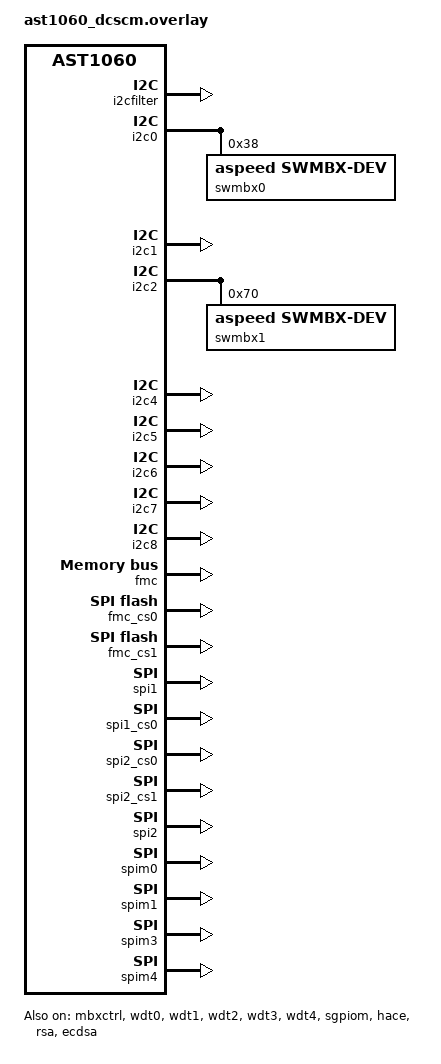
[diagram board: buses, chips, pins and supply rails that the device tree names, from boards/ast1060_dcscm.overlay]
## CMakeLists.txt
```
# Copyright (c) 2022 ASPEED Technology Inc.
# SPDX-License-Identifier: MIT

cmake_minimum_required(VERSION 3.13.1)

find_package(Zephyr REQUIRED HINTS $ENV{ZEPHYR_BASE})
project(preload-fw VERSION 03.08 LANGUAGES C)

set(PROJECT_VERSION_MAJOR ${CMAKE_PROJECT_VERSION_MAJOR})
set(PROJECT_VERSION_MINOR ${CMAKE_PROJECT_VERSION_MINOR})

configure_file(build_config.h.in build_config.h)
set(PRELOAD_FW_ROOT ${CMAKE_CURRENT_LIST_DIR})

add_subdirectory(src)

zephyr_link_libraries(mbedTLS)
zephyr_include_directories(.)
target_include_directories(
	app
	PRIVATE
	${PRELOAD_FW_ROOT}/src
	${ZEPHYR_BASE}/include
	${PROJECT_BINARY_DIR}/include/generated
	${CMAKE_CURRENT_BINARY_DIR}
)
```

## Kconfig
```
# Copyright (c) 2022 ASPEED Technology Inc.
# # SPDX-License-Identifier: MIT

config ASPEED_DC_SCM
	default n
	bool "ASPEED DC-SCM board"
	help
	  Enable ASPEED DC-SCM board basic settings.

config BMC_DUAL_FLASH
	default n
	bool "Enable BMC dual flash support"
	help
	  Enable if BMC has dual flash

config CPU_DUAL_FLASH
	default n
	bool "Enable CPU dual flash support"
	help
	  Enable if CPU has dual flash

config SPI_MUX_INVERSE
	default n
	bool "Invert SPI MUX"
	help
	  Enable if SPI MUX connected to BMC/ROT is inverted

config OTP_SIM
	depends on !OTP_ASPEED
	default n
	bool "Simulate OTP"
	help
	  Enable using flash to simulate OTP memory

config OTP_SIM_SHELL
	depends on OTP_SIM
	default n
	bool "OTP shell commands"
	help
	  Enable OTP commands for read otp data from flash

config AST10X0_PROGRAMMER_MP
	depends on BOARD_AST10X0_MP
	default n
	bool "MP via programmer"
	help
	  Support programming OTP and ROT firmware via programmer

config MP_ROT_IMAGE_OFFSET
	depends on AST10X0_PROGRAMMER_MP
	default 0x60000
	hex "ROT firmware image start address"

config MP_ROT_IMAGE_SIZE
	depends on AST10X0_PROGRAMMER_MP
	default 0x60000
	hex "ROT firmware image size"

config MP_OTP_IMAGE_OFFSET
	depends on AST10X0_PROGRAMMER_MP
	default 0x40000
	hex "OTP image start address"

config MP_OTP_IMAGE_SIZE
	depends on AST10X0_PROGRAMMER_MP
	default 0x10000
	hex "OTP image size"

config ASPEED_DICE
	default n
	bool "Aspeed DICE implementation"
	help
	  Enable DICE (Device Identifier Composition Engine) feature for
	  hardware root of trust and attestation support.

source "Kconfig.zephyr"
```

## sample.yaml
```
sample:
  name: Aspeed preload firmware
tests:
  sample.board.ast1060_evb:
    platform_allow: ast1060_evb
```

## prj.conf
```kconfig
CONFIG_GPIO=y
CONFIG_SPI=y
CONFIG_I2C=y
CONFIG_HWINFO=y
CONFIG_HWINFO_SHELL=y
CONFIG_HWINFO_ASPEED=y
CONFIG_CLOCK_CONTROL=y
CONFIG_CLOCK_CONTROL_AST10X0=y
CONFIG_THREAD_RUNTIME_STATS=y
CONFIG_GPIO_SHELL=y
CONFIG_ENTROPY_GENERATOR=y
CONFIG_ENTROPY_ASPEED_TRNG=y
CONFIG_I2C_TARGET=y
CONFIG_FLASH=y
CONFIG_FLASH_PAGE_LAYOUT=y
CONFIG_SPI_NOR=n
CONFIG_SPI_NOR_MULTI_DEV=y
CONFIG_SPI_DMA_SUPPORT_ASPEED=y
CONFIG_FLASH_SHELL=y
CONFIG_HEAP_MEM_POOL_SIZE=16384
CONFIG_COMMON_LIBC_MALLOC_ARENA_SIZE=147456
CONFIG_REBOOT=y
CONFIG_STACK_SENTINEL=y
CONFIG_LOG=y
CONFIG_LOG_BUFFER_SIZE=8192
CONFIG_SHELL=y
CONFIG_CRYPTO=y
CONFIG_CRYPTO_ASPEED=y
CONFIG_RSA_ASPEED=y
CONFIG_MAIN_STACK_SIZE=16384
CONFIG_FLASH_MAP=y
CONFIG_ECDSA_ASPEED=y
CONFIG_MBEDTLS=y
CONFIG_MBEDTLS_SHA1=y
CONFIG_MBEDTLS_SHA256=y
CONFIG_MBEDTLS_SHA384=y
CONFIG_MBEDTLS_BUILTIN=y
CONFIG_MBEDTLS_ECDSA_C=y
CONFIG_MBEDTLS_ECP_C=y
CONFIG_MBEDTLS_ECP_DP_SECP384R1_ENABLED=y
CONFIG_MBEDTLS_ECP_DP_SECP256R1_ENABLED=y
CONFIG_MBEDTLS_ECP_NIST_OPTIM=y
# CONFIG_MBEDTLS_LOG_LEVEL_DBG=y
# Temporary enable ABR for debugging as abr is enabled on EVB
CONFIG_ABR_FLOW_CTRL_ASPEED=y

CONFIG_SHELL_STACK_SIZE=8192
CONFIG_SHELL_BACKEND_SERIAL_INIT_PRIORITY=99
CONFIG_SHELL_BACKEND_SERIAL_LOG_MESSAGE_QUEUE_TIMEOUT=-1
CONFIG_SHELL_BACKEND_SERIAL_LOG_MESSAGE_QUEUE_SIZE=100

# OTP
# CONFIG_OTP_ASPEED=y
CONFIG_OTP_SIM=y
CONFIG_OTP_SIM_SHELL=y

CONFIG_BOOT_BANNER=y
```

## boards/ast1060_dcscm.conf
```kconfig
CONFIG_GPIO_ASPEED_SGPIOM=y
CONFIG_GPIO_ASPEED=y
CONFIG_SPI_ASPEED=y
CONFIG_SPI_MONITOR_ASPEED=y
CONFIG_SPI_MONITOR_SHELL_ASPEED=y
CONFIG_SPI_NOR_ADDR_MODE_FALLBACK_DISABLED=y
CONFIG_I2C_ASPEED=y
CONFIG_I2C_PFR=y
CONFIG_I2C_PFR_INIT_PRIORITY=60
CONFIG_I2C_PFR_FILTER=y
CONFIG_SHELL_ARGC_MAX=70
CONFIG_WATCHDOG=y
CONFIG_WDT_ASPEED=y
CONFIG_UART_ASPEED=y
CONFIG_ASPEED_DC_SCM=y
CONFIG_PFR_SW_MAILBOX=y
CONFIG_I2C_SWMBX_SLAVE=y
CONFIG_MBEDTLS_MAC_SHA384_ENABLED=y
CONFIG_CPU_DUAL_FLASH=y
```

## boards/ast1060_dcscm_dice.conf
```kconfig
CONFIG_GPIO_ASPEED_SGPIOM=y
CONFIG_GPIO_ASPEED=y
CONFIG_SPI_ASPEED=y
CONFIG_SPI_MONITOR_ASPEED=y
CONFIG_SPI_MONITOR_SHELL_ASPEED=y
CONFIG_SPI_NOR_ADDR_MODE_FALLBACK_DISABLED=y
CONFIG_I2C_ASPEED=y
CONFIG_I2C_PFR=y
CONFIG_I2C_PFR_INIT_PRIORITY=60
CONFIG_I2C_PFR_FILTER=y
CONFIG_SHELL_ARGC_MAX=70
CONFIG_WATCHDOG=y
CONFIG_WDT_ASPEED=y
CONFIG_UART_ASPEED=y
CONFIG_ASPEED_DC_SCM=y
CONFIG_PFR_SW_MAILBOX=y
CONFIG_I2C_SWMBX_SLAVE=y
CONFIG_MBEDTLS_MAC_SHA384_ENABLED=y
CONFIG_CPU_DUAL_FLASH=y
```

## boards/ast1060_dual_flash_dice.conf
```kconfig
CONFIG_GPIO_ASPEED_SGPIOM=y
CONFIG_GPIO_ASPEED=y
CONFIG_SPI_ASPEED=y
CONFIG_SPI_MONITOR_ASPEED=y
CONFIG_SPI_MONITOR_SHELL_ASPEED=y
CONFIG_SPI_NOR_ADDR_MODE_FALLBACK_DISABLED=y
CONFIG_I2C_ASPEED=y
CONFIG_I2C_PFR=y
CONFIG_I2C_PFR_INIT_PRIORITY=60
CONFIG_I2C_PFR_FILTER=y
CONFIG_SHELL_ARGC_MAX=70
CONFIG_WATCHDOG=y
CONFIG_WDT_ASPEED=y
CONFIG_UART_ASPEED=y
CONFIG_ASPEED_DC_SCM=y
CONFIG_PFR_SW_MAILBOX=y
CONFIG_I2C_SWMBX_SLAVE=y
CONFIG_MBEDTLS_MAC_SHA384_ENABLED=y
CONFIG_BMC_DUAL_FLASH=y
CONFIG_CPU_DUAL_FLASH=y
```

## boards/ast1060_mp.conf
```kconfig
CONFIG_GPIO_ASPEED_SGPIOM=y
CONFIG_GPIO_ASPEED=y
CONFIG_SPI_ASPEED=y
CONFIG_SPI_MONITOR_ASPEED=y
CONFIG_SPI_MONITOR_SHELL_ASPEED=y
CONFIG_SPI_NOR_ADDR_MODE_FALLBACK_DISABLED=y
CONFIG_I2C_ASPEED=y
CONFIG_I2C_PFR=y
CONFIG_I2C_PFR_INIT_PRIORITY=60
CONFIG_I2C_PFR_FILTER=y
CONFIG_SHELL_ARGC_MAX=70
CONFIG_WATCHDOG=y
CONFIG_WDT_ASPEED=y
CONFIG_UART_ASPEED=y
CONFIG_ASPEED_DC_SCM=y
CONFIG_PFR_SW_MAILBOX=y
CONFIG_I2C_SWMBX_SLAVE=y
CONFIG_MBEDTLS_MAC_SHA384_ENABLED=y
CONFIG_AST1060_PROGRAMMER_MP=y
```

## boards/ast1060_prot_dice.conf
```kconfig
CONFIG_GPIO_ASPEED_SGPIOM=y
CONFIG_GPIO_ASPEED=y
CONFIG_SPI_ASPEED=y
CONFIG_SPI_MONITOR_ASPEED=y
CONFIG_SPI_MONITOR_SHELL_ASPEED=y
CONFIG_SPI_NOR_ADDR_MODE_FALLBACK_DISABLED=y
CONFIG_I2C_ASPEED=y
CONFIG_I2C_PFR=y
CONFIG_I2C_PFR_INIT_PRIORITY=60
CONFIG_I2C_PFR_FILTER=y
CONFIG_SHELL_ARGC_MAX=70
CONFIG_WATCHDOG=y
CONFIG_WDT_ASPEED=y
CONFIG_ASPEED_DC_SCM=y
CONFIG_PFR_SW_MAILBOX=y
CONFIG_I2C_SWMBX_TARGET=y
CONFIG_CPU_DUAL_FLASH=y
```

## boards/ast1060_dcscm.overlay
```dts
#include "ast1060_dcscm_gpio_common.dts"
#include "ast1060_dcscm_gpio_mp.dts"

&i2cfilter {
	status = "okay";
};

&mbxctrl {
	status = "okay";
};

&i2c0 {
	status = "okay";

	swmbx0: swmbx0@38 {
		compatible = "aspeed,swmbx-dev";
		reg = <0x38>;
		size = <256>;
		port = <0>;
		status = "okay";
	};
};

&i2c1 {
	status = "okay";
};

&i2c2 {
	status = "okay";

	swmbx1: swmbx1@70 {
		compatible = "aspeed,swmbx-dev";
		reg = <0x70>;
		size = <256>;
		port = <1>;
		status = "okay";
	};
};

&i2c4 {
	status = "okay";
};

&i2c5 {
	status = "okay";
};

&i2c6 {
	status = "okay";
};

&i2c7 {
	status = "okay";
};

// for i2c filter testing
&i2c8 {
	status = "okay";
};

&wdt0 {
	status = "okay";
};

&wdt1 {
	status = "okay";
};

&wdt2 {
	status = "okay";
};

&wdt3 {
	status = "okay";
};

&wdt4 {
	status = "okay";
};

&fmc {
	status = "okay";
};

&fmc_cs0 {
	/delete-property/ broken-sfdp;
	/delete-property/ write-block-size;
	status = "okay";
	spi-max-buswidth = <4>;
	spi-max-frequency = <50000000>;
	partitions {
		compatible = "fixed-partitions";
		#address-cells = <1>;
		#size-cells = <1>;
		mcuboot_partition: partition@0 {
			label = "mcuboot";
			reg = <0x0 0x1c000>;
		};

		certificate_partition: partition@1c000 {
			label = "certificate";
			reg = <0x1c000 0x4000>;
		};


		active_partition: partition@20000 {
			label = "active";
			reg = <0x20000 0x60000>;
		};

		recovery_partition: partition@80000 {
			label = "recovery";
			reg = <0x80000 0x60000>;
		};

		otp_img_partition: partition@e0000 {
			label = "otp_img";
			reg = <0xe0000 0x1c000>;
		};
	};
};

&fmc_cs1 {
	status = "okay";
	spi-max-buswidth = <4>;
	spi-max-frequency = <50000000>;
};

&spi1 {
#if 0 // Enable for dual flash platform
	num-cs = <2>;
#else
	num-cs = <1>;
#endif
	status = "okay";
};

/* "SPI1_CS0" is used to access flash connected to SPI_Monitor_1,
 * "SPI1_CS1" is used to access flash connected to SPI_Monitor_2,
 * "SPI2_CS0" is used to access flash connected to SPI_Monitor_3,
 * "SPI2_CS1" is used to access flash connected to SPI_Monitor_4,
 */

&spi1_cs0 {
	spi-max-buswidth = <4>;
	spi-max-frequency = <50000000>;
	spi-monitor-ctrl = <&spim1>;
	status = "okay";
};

#if 0 // Enable for dual flash platform
&spi1_cs1 {
	spi-max-buswidth = <4>;
	spi-max-frequency = <50000000>;
	spi-monitor-ctrl = <&spim2>;
	status = "okay";
};
#endif

&spi2_cs0 {
	spi-max-buswidth = <1>;
	spi-max-frequency = <50000000>;
	spi-monitor-ctrl = <&spim3>;
	status = "okay";
};

&spi2_cs1 {
	spi-max-buswidth = <1>;
	spi-max-frequency = <50000000>;
	spi-monitor-ctrl = <&spim4>;
	status = "okay";
};

&spi2 {
	internal-mux-master = <2>;
	spi-monitor-output-base = <3>;
	spi-monitor-common-ctrl = <&spim0>;
	pinctrl-0 = <>;

	num-cs = <2>;
	status = "okay";

	spim-proprietary-config-enable;
};

&spim0 {
	status = "okay";
};

&spim1 {
	allow-cmds = [03 13 0b 0c 6b 6c 01 05 35 06 04 20 21 9f 5a b7 e9 32 34 d8 dc 02 12 3b 3c 70 bb bc 50 eb ec c2];
	log-ram-size = <0x200>;
	pinctrl-0 = <pinctrl_spim1_quad_default>;
	pinctrl-names = "default";
	ext-mux-sel = <1>;
	status = "okay";
};

#if 0 // Enable for dual flash platform
&spim2 {
	allow-cmds = [03 13 0b 0c 6b 6c 01 05 35 06 04 20 21 9f 5a b7 e9 32 34 d8 dc 02 12 3b 3c 70 bb bc 50 eb ec c2];
	log-ram-size = <0x200>;
	pinctrl-0 = <pinctrl_spim2_quad_default>;
	pinctrl-names = "default";
	ext-mux-sel = <1>;
	status = "okay";
};
#endif

&spim3 {
	allow-cmds = [03 13 0b 0c 6b 6c 01 05 35 06 04 20 21 9f 5a b7 e9 32 34 d8 dc 02 12 3b 3c 70 bb bc 50 eb ec c2];
	log-ram-size = <0x200>;
	pinctrl-0 = <&pin_spim3csin &pin_spim3clkin &pin_spim3mosiin &pin_spim3misoin
		&pin_spim3csout &pin_spim3io2in &pin_spim3io3in &pin_spim3clkout
		&pin_spim3misoout &pin_spim3mosiout &pin_spim3io2out &pin_spim3io3out
		&pin_spim3muxsel>;
	pinctrl-names = "default";
	ext-mux-sel = <1>;
	status = "okay";
};

&spim4 {
	allow-cmds = [03 13 0b 0c 6b 6c 01 05 35 06 04 20 21 9f 5a b7 e9 32 34 d8 dc 02 12 3b 3c 70 bb bc 50 eb ec c2];
	log-ram-size = <0x200>;
	pinctrl-0 = <&pin_spim4csin &pin_spim4clkin &pin_spim4mosiin &pin_spim4misoin
		&pin_spim4csout &pin_spim4io2in &pin_spim4io3in &pin_spim4clkout
		&pin_spim4misoout &pin_spim4mosiout &pin_spim4io2out &pin_spim4io3out
		&pin_spim4muxsel>;
	pinctrl-names = "default";
	ext-mux-sel = <1>;
	status = "okay";
};

&sgpiom {
	status = "okay";
	sgpiom_a_d {
		status = "okay";
	};
	sgpiom_e_h {
		status = "okay";
	};
	sgpiom_i_l {
		status = "okay";
	};
	sgpiom_m_p {
		status = "okay";
	};
};

&hace {
	status = "okay";
};

&rsa {
	status = "okay";
};

&ecdsa {
	status = "okay";
};
```

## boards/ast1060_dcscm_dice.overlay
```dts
#include "ast1060_dcscm_gpio_common.dts"
#include "ast1060_dcscm_gpio_mp.dts"

&wdt0 {
	status = "okay";
};

&wdt1 {
	status = "okay";
};

&wdt2 {
	status = "okay";
};

&wdt3 {
	status = "okay";
};

&wdt4 {
	status = "okay";
};

&fmc {
	status = "okay";
};

&fmc_cs0 {
	/delete-property/ broken-sfdp;
	/delete-property/ write-block-size;
	status = "okay";
	spi-max-buswidth = <4>;
	spi-max-frequency = <50000000>;
	partitions {
		compatible = "fixed-partitions";
		#address-cells = <1>;
		#size-cells = <1>;
		mcuboot_partition: partition@0 {
			label = "mcuboot";
			reg = <0x0 0x1c000>;
		};

		certificate_partition: partition@1c000 {
			label = "certificate";
			reg = <0x1c000 0x4000>;
		};


		active_partition: partition@20000 {
			label = "active";
			reg = <0x20000 0x60000>;
		};

		recovery_partition: partition@80000 {
			label = "recovery";
			reg = <0x80000 0x60000>;
		};

		otp_img_partition: partition@e0000 {
			label = "otp_img";
			reg = <0xe0000 0x1c000>;
		};
	};
};

&hace {
	status = "okay";
};

&rsa {
	status = "okay";
};

&ecdsa {
	status = "okay";
};
```

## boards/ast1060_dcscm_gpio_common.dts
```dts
/ {
	pfr_gpio_common {
		compatible = "aspeed,pfr-gpio-common";
		bmc-srst-ctrl-out-gpios = <&gpio0_m_p 5 0>; /* GPIO_M5 */
		bmc-extrst-ctrl-out-gpios = <&gpio0_e_h 26 0>; /* GPIO_H2 */
		bmc-rst-ind-in-gpios = <&gpio0_m_p 19 0>; /* GPIO_O3 */
		bmc-cpu1-mux-sel-out-gpios = <&gpio0_a_d 26 0>; /* GPIO_D2 */
		bic-rst-ind-in-gpios = <&gpio0_a_d 16 0>; /* GPIO_C0 */
		pch-rst-ctrl-out-gpios = <&gpio0_m_p 4 0>; /* GPIO_M4 */

		/* NOTICE:
		 * Normally, these two pin should be GPIO_ACTIVE_LOW, but currently this EVB
		 * doesn't produce correct power sequence by itself.
		 */
		rst-srst-bmc-in-gpios = <&gpio0_q_t 27 GPIO_ACTIVE_HIGH>; /* GPIO_T3 */
		rst-rsmrst-in-gpios = <&gpio0_q_t 24 GPIO_ACTIVE_HIGH>; /* GPIO_T0 */
	};
};
```

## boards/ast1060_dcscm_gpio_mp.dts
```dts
/ {
	pfr_gpio_mp {
		compatible = "aspeed,pfr-gpio-mp";
		mp-status1-out-gpios = <&gpio0_i_l 24 0>; /* GPIO_L0 */
		mp-status2-out-gpios = <&gpio0_i_l 2 0>;  /* GPIO_I2 */
	};
};
```

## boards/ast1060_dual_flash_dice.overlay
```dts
#include "ast1060_dcscm_gpio_common.dts"
#include "ast1060_dcscm_gpio_mp.dts"

&i2cfilter {
	status = "okay";
};

&mbxctrl {
	status = "okay";
};

&i2c0 {
	status = "okay";

	swmbx0: swmbx0@38 {
		compatible = "aspeed,swmbx-dev";
		reg = <0x38>;
		label = "SWMBX_SLAVE_BMC";
		size = <256>;
		port = <0>;
		status = "okay";
	};
};

&i2c1 {
	status = "okay";
};

&i2c2 {
	status = "okay";

	swmbx1: swmbx1@70 {
		compatible = "aspeed,swmbx-dev";
		reg = <0x70>;
		label = "SWMBX_SLAVE_CPU";
		size = <256>;
		port = <1>;
		status = "okay";
	};
};

&i2c4 {
	status = "okay";
};

&i2c5 {
	status = "okay";
};

&i2c6 {
	status = "okay";
};

&i2c7 {
	status = "okay";
};

// for i2c filter testing
&i2c8 {
	status = "okay";
};

&wdt0 {
	status = "okay";
};

&wdt1 {
	status = "okay";
};

&wdt2 {
	status = "okay";
};

&wdt3 {
	status = "okay";
};

&wdt4 {
	status = "okay";
};

&fmc {
	status = "okay";
};

&fmc_cs0 {
	/delete-property/ broken-sfdp;
	/delete-property/ write-block-size;
	status = "okay";
	spi-max-buswidth = <4>;
	spi-max-frequency = <50000000>;
	partitions {
		compatible = "fixed-partitions";
		#address-cells = <1>;
		#size-cells = <1>;
		mcuboot_partition: partition@0 {
			label = "mcuboot";
			reg = <0x0 0x1c000>;
		};

		certificate_partition: partition@1c000 {
			label = "certificate";
			reg = <0x1c000 0x4000>;
		};


		active_partition: partition@20000 {
			label = "active";
			reg = <0x20000 0x60000>;
		};

		recovery_partition: partition@80000 {
			label = "recovery";
			reg = <0x80000 0x60000>;
		};

		otp_img_partition: partition@e0000 {
			label = "otp_img";
			reg = <0xe0000 0x1c000>;
		};
	};
};

&fmc_cs1 {
	status = "okay";
	spi-max-buswidth = <4>;
	spi-max-frequency = <50000000>;
};

&spi1 {
	num-cs = <2>;
	status = "okay";
};

/* "SPI1_CS0" is used to access flash connected to SPI_Monitor_1,
 * "SPI1_CS1" is used to access flash connected to SPI_Monitor_2,
 * "SPI2_CS0" is used to access flash connected to SPI_Monitor_3,
 * "SPI2_CS1" is used to access flash connected to SPI_Monitor_4,
 */

&spi1_cs0 {
	spi-max-buswidth = <4>;
	spi-max-frequency = <50000000>;
	spi-monitor-ctrl = <&spim1>;
	status = "okay";
};

&spi1_cs1 {
	spi-max-buswidth = <4>;
	spi-max-frequency = <50000000>;
	spi-monitor-ctrl = <&spim2>;
	status = "okay";
};

&spi2_cs0 {
	spi-max-buswidth = <1>;
	spi-max-frequency = <50000000>;
	spi-monitor-ctrl = <&spim3>;
	status = "okay";
};

&spi2_cs1 {
	spi-max-buswidth = <1>;
	spi-max-frequency = <50000000>;
	spi-monitor-ctrl = <&spim4>;
	status = "okay";
};

&spi2 {
	internal-mux-master = <2>;
	spi-monitor-output-base = <3>;
	spi-monitor-common-ctrl = <&spim0>;
	pinctrl-0 = <>;

	num-cs = <2>;
	status = "okay";

	spim-proprietary-config-enable;
};

&spim0 {
	status = "okay";
};

&spim1 {
	allow-cmds = [03 13 0b 0c 6b 6c 01 05 35 06 04 20 21 9f 5a b7 e9 32 34 d8 dc 02 12 3b 3c 70 bb bc 50 eb ec c2];
	log-ram-size = <0x200>;
	pinctrl-0 = <pinctrl_spim1_quad_default>;
	pinctrl-names = "default";

	ext-mux-sel = <1>;
	status = "okay";
};

&spim2 {
	allow-cmds = [03 13 0b 0c 6b 6c 01 05 35 06 04 20 21 9f 5a b7 e9 32 34 d8 dc 02 12 3b 3c 70 bb bc 50 eb ec c2];
	log-ram-size = <0x200>;
	pinctrl-0 = <pinctrl_spim2_quad_default>;
	pinctrl-names = "default";

	ext-mux-sel = <1>;
	status = "okay";
};

&spim3 {
	allow-cmds = [03 13 0b 0c 6b 6c 01 05 35 06 04 20 21 9f 5a b7 e9 32 34 d8 dc 02 12 3b 3c 70 bb bc 50 eb ec c2];
	log-ram-size = <0x200>;
	pinctrl-0 = <&pin_spim3csin &pin_spim3clkin &pin_spim3mosiin &pin_spim3misoin
		&pin_spim3csout &pin_spim3io2in &pin_spim3io3in &pin_spim3clkout
		&pin_spim3misoout &pin_spim3mosiout &pin_spim3io2out &pin_spim3io3out
		&pin_spim3muxsel>;
	pinctrl-names = "default";

	ext-mux-sel = <1>;
	status = "okay";
};

&spim4 {
	allow-cmds = [03 13 0b 0c 6b 6c 01 05 35 06 04 20 21 9f 5a b7 e9 32 34 d8 dc 02 12 3b 3c 70 bb bc 50 eb ec c2];
	log-ram-size = <0x200>;
	pinctrl-0 = <&pin_spim4csin &pin_spim4clkin &pin_spim4mosiin &pin_spim4misoin
		&pin_spim4csout &pin_spim4io2in &pin_spim4io3in &pin_spim4clkout
		&pin_spim4misoout &pin_spim4mosiout &pin_spim4io2out &pin_spim4io3out
		&pin_spim4muxsel>;
	pinctrl-names = "default";

	ext-mux-sel = <1>;
	status = "okay";
};

&hace {
	status = "okay";
};

&rsa {
	status = "okay";
};

&ecdsa {
	status = "okay";
};
```

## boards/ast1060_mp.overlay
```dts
#include "ast1060_dcscm_gpio_common.dts"
#include "ast1060_dcscm_gpio_mp.dts"

&i2cfilter {
	pinctrl-0 = <&pinctrl_smbflt_default>;
	status = "okay";
};

&mbxctrl {
	status = "okay";
};

&i2c0 {
	status = "okay";
	pinctrl-0 = <&pinctrl_i2c0_default>;

	swmbx0: swmbx0@38 {
		compatible = "aspeed,swmbx-dev";
		reg = <0x38>;
		label = "SWMBX_SLAVE_BMC";
		size = <256>;
		port = <0>;
		status = "okay";
	};
};

&i2c1 {
	pinctrl-0 = <&pinctrl_i2c1_default>;
	status = "okay";
};

&i2c2 {
	pinctrl-0 = <&pinctrl_i2c2_default>;
	status = "okay";

	swmbx1: swmbx1@70 {
		compatible = "aspeed,swmbx-dev";
		reg = <0x70>;
		label = "SWMBX_SLAVE_CPU";
		size = <256>;
		port = <1>;
		status = "okay";
	};
};

&i2c4 {
	pinctrl-0 = <&pinctrl_i2c4_default>;
	status = "okay";
};

&i2c5 {
	pinctrl-0 = <&pinctrl_i2c5_default>;
	status = "okay";
};

&i2c6 {
	pinctrl-0 = <&pinctrl_i2c6_default>;
	status = "okay";
};

&i2c7 {
	pinctrl-0 = <&pinctrl_i2c7_default>;
	status = "okay";
};

// for i2c filter testing
&i2c8 {
	pinctrl-0 = <&pinctrl_i2c8_default>;
	status = "okay";
};

&wdt0 {
	status = "okay";
};

&wdt1 {
	status = "okay";
};

&wdt2 {
	status = "okay";
};

&wdt3 {
	status = "okay";
};

&wdt4 {
	status = "okay";
};

&fmc {
	status = "okay";
};

&fmc_cs0 {
	/delete-property/ broken-sfdp;
	/delete-property/ write-block-size;
	status = "okay";
	spi-max-buswidth = <4>;
	spi-max-frequency = <50000000>;
};

&fmc_cs1 {
	status = "okay";
	spi-max-buswidth = <4>;
	spi-max-frequency = <50000000>;
};

&spi1 {
	num-cs = <1>;
	status = "okay";
};

/* "SPI1_CS0" is used to access flash connected to SPI_Monitor_1,
 * "SPI2_CS0" is used to access flash connected to SPI_Monitor_3,
 * "SPI2_CS1" is used to access flash connected to SPI_Monitor_4,
 */

&spi1_cs0 {
	spi-max-buswidth = <4>;
	spi-max-frequency = <50000000>;
	status = "okay";
};

&spi2_cs0 {
	spi-max-buswidth = <1>;
	spi-max-frequency = <50000000>;
	status = "okay";
};

&spi2_cs1 {
	spi-max-buswidth = <1>;
	spi-max-frequency = <50000000>;
	status = "okay";
};

&spi2 {
	internal-mux-master = <2>;
	spi-monitor-output-base = <3>;
	spi-monitor-common-ctrl = <&spim0>;
	pinctrl-0 = <>;

	num-cs = <2>;
	status = "okay";
};

&spim0 {
	status = "okay";
};

&spim1 {
	allow-cmds = [03 13 0b 0c 6b 6c 01 05 35 06 04 20 21 9f 5a b7 e9 32 34 d8 dc 02 12 3b 3c 70 bb bc];
	log-ram-size = <0x200>;
	pinctrl-0 = <&pinctrl_spim1_cs &pinctrl_spim1_in_default &pinctrl_spim1_qspi_in_default
				&pinctrl_spim1_rst_out &pinctrl_spim1_muxsel>;

	flash-device = <&spi1_cs0>;
	ext-mux-sel = <1>;
	status = "okay";
};

&spim3 {
	allow-cmds = [03 13 0b 0c 6b 6c 01 05 35 06 04 20 21 9f 5a b7 e9 32 34 d8 dc 02 12 3b 3c 70 bb bc];
	log-ram-size = <0x200>;
	pinctrl-0 = <&pinctrl_spim3_cs &pinctrl_spim3_in_default &pinctrl_spim3_out_default
		&pinctrl_spim3_qspi_in_default &pinctrl_spim3_qspi_out_default
		&pinctrl_spim3_muxsel>;

	flash-device = <&spi2_cs0>;
	ext-mux-sel = <1>;
	status = "okay";
};

&spim4 {
	allow-cmds = [03 13 0b 0c 6b 6c 01 05 35 06 04 20 21 9f 5a b7 e9 32 34 d8 dc 02 12 3b 3c 70 bb bc];
	log-ram-size = <0x200>;
	pinctrl-0 = <&pinctrl_spim4_cs &pinctrl_spim4_in_default &pinctrl_spim4_out_default
		&pinctrl_spim4_qspi_in_default &pinctrl_spim4_qspi_out_default
		&pinctrl_spim4_muxsel>;

	flash-device = <&spi2_cs1>;
	ext-mux-sel = <1>;
	status = "okay";
};

&timer0 {
	status = "okay";
};
```

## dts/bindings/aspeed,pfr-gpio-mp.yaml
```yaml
# Copyright (c) 2023 ASPEED Technology Inc.
# SPDX-License-Identifier: MIT

description: |
    This binding provides gpio required to support mp.

compatible: "aspeed,pfr-gpio-mp"

properties:
    mp-status1-out-gpios:
        type: phandle-array
        required: true
        description: MP status bit.

    mp-status2-out-gpios:
        type: phandle-array
        required: true
        description: MP status bit.
```

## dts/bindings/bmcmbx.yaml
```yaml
# Copyright (c) 2022 ASPEED Technology Inc.
# SPDX-License-Identifier: MIT

description: I2C BMC Mailbox

compatible: "bmcmbx"

include: i2c-device.yaml
```

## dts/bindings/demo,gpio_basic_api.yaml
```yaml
# Copyright (c) 2022 ASPEED Technology Inc.
# SPDX-License-Identifier: MIT

description: |
    This binding provides resources required to build and run the
    samples/ast1060_evb/demo in Zephyr.

compatible: "demo,gpio_basic_api"

properties:
    out-gpios:
        type: phandle-array
        required: false
        description: |
          Identity of a GPIO that will be configured as an output.  This
          must be on the same device as in-gpios, and physically
          connected to in-gpios.

    in-gpios:
        type: phandle-array
        required: false
        description: |
          Identity of a GPIO that will be configured as an input.  This
          must be on the same device as out-gpios,and physically
          connected to out-gpios.
    bmc-srst-ctrl-out-gpios:
      type: phandle-array
      required: false
      description: Control BMC SRST# signal.

    bmc-extrst-ctrl-out-gpios:
      type: phandle-array
      required: false
      description: Control BMC EXTRST# signal.

    bmc-rst-ind-in-gpios:
      type: phandle-array
      required: false
      description: Detect or monitor BMC reset indicator.

    bmc-cpu1-mux-sel-out-gpios:
      type: phandle-array
      required: false
      description: |
        Control the MUX selection pin which determains
        SPI flash signal from BMC or CPU1.
          0: CPU1
          1: BMC or BIC

    bic-rst-ind-in-gpios:
      type: phandle-array
      required: false
      description: Detect or monitor BIC reset indicator.

    pch-rst-ctrl-out-gpios:
      type: phandle-array
      required: false
      description: Control PCH reset signal.

    cpu0-rst-ind-in-gpios:
      type: phandle-array
      required: false
      description: Detect CPU0 reset indicator.

    cpu1-rst-ind-in-gpios:
      type: phandle-array
      required: false
      description: Detect CPU1 reset indicator.

    cpu0-flash-pwr-out-gpios:
      type: phandle-array
      required: false
      description: PCH CPU0 SPI flash power control.

    cpu1-flash-pwr-out-gpios:
      type: phandle-array
      required: false
      description: PCH CPU1 SPI flash power control.

    platform-state-out-gpios:
      type: phandle-array
      required: false
      description: 8 bit leds for displaying platform state

    rst-srst-bmc-in-gpios:
      type: phandle-array
      required: false
      description: Power sequence from CPLD indicates BMC SRST released

    rst-rsmrst-in-gpios:
      type: phandle-array
      required: false
      description: Power sequence from CPLD indicates PCH RSMRST released
```

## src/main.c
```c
/*
 * Copyright (c) 2022 ASPEED Technology Inc.
 *
 * SPDX-License-Identifier: MIT
 */

#include <zephyr/logging/log.h>
#include <zephyr/kernel.h>
#include <build_config.h>
#include <zephyr/shell/shell.h>
#include <zephyr/drivers/gpio.h>
#include <zephyr/drivers/misc/aspeed/abr_aspeed.h>
#if defined(CONFIG_AST10X0_PROGRAMMER_MP)
#include "mp/mp_util.h"
#else
#include "certificate/cert_prov.h"
#endif
#include "gpio/gpio_ctrl.h"

LOG_MODULE_REGISTER(main, CONFIG_LOG_DEFAULT_LEVEL);

extern void aspeed_print_sysrst_info(void);

int main(void)
{
	init_mp_status_gpios();

	LOG_INF("*** ASPEED Preload FW version v%02d.%02d Board:%s ***", PROJECT_VERSION_MAJOR, PROJECT_VERSION_MINOR, CONFIG_BOARD);
	aspeed_print_sysrst_info();
	disable_abr_wdt();
#if defined(CONFIG_AST10X0_PROGRAMMER_MP)
	int ret;
	uint32_t time_start, time_end;
	time_start = k_uptime_get_32();
	ret = prog_otp_and_rot();
	if (ret == 0) {
		LOG_INF("OTP and firmware image have been programmed successfully");
		time_end = k_uptime_get_32();
		LOG_INF("MP flow completed, elapsed time = %u milliseconds",
				(time_end - time_start));
	} else {
		LOG_ERR("Failed to update OTP and firmware image");
	}
#else
#if defined(CONFIG_ASPEED_DICE)
	PROV_STATUS ret;
	BMCBootHold();
	PCHBootHold();

	ret = cert_provision();

	if (ret == PROV_ROT_UPDATE) {
		BMCBootRelease();
		PCHBootRelease();
	}
#endif
#endif

	return 0;
}

static int do_mp_inject(const struct shell *shell, size_t argc, char **argv)
{
	init_mp_status_gpios();
	if (!strcmp(argv[1], "inprog"))
		set_mp_status(0, 0);
	else if (!strcmp(argv[1], "otp"))
		set_mp_status(0, 1);
	else if (!strcmp(argv[1], "fw"))
		set_mp_status(1, 0);
	else if (!strcmp(argv[1], "done"))
		set_mp_status(1, 1);

	return 0;
}

SHELL_STATIC_SUBCMD_SET_CREATE(mp_cmds,
		SHELL_CMD_ARG(inject_state, NULL, "inject state: <inprog|fw|otp|done>", do_mp_inject, 2, 0),
		SHELL_SUBCMD_SET_END);

SHELL_CMD_REGISTER(mp, &mp_cmds, "Test MP flow Commands", NULL);
```
